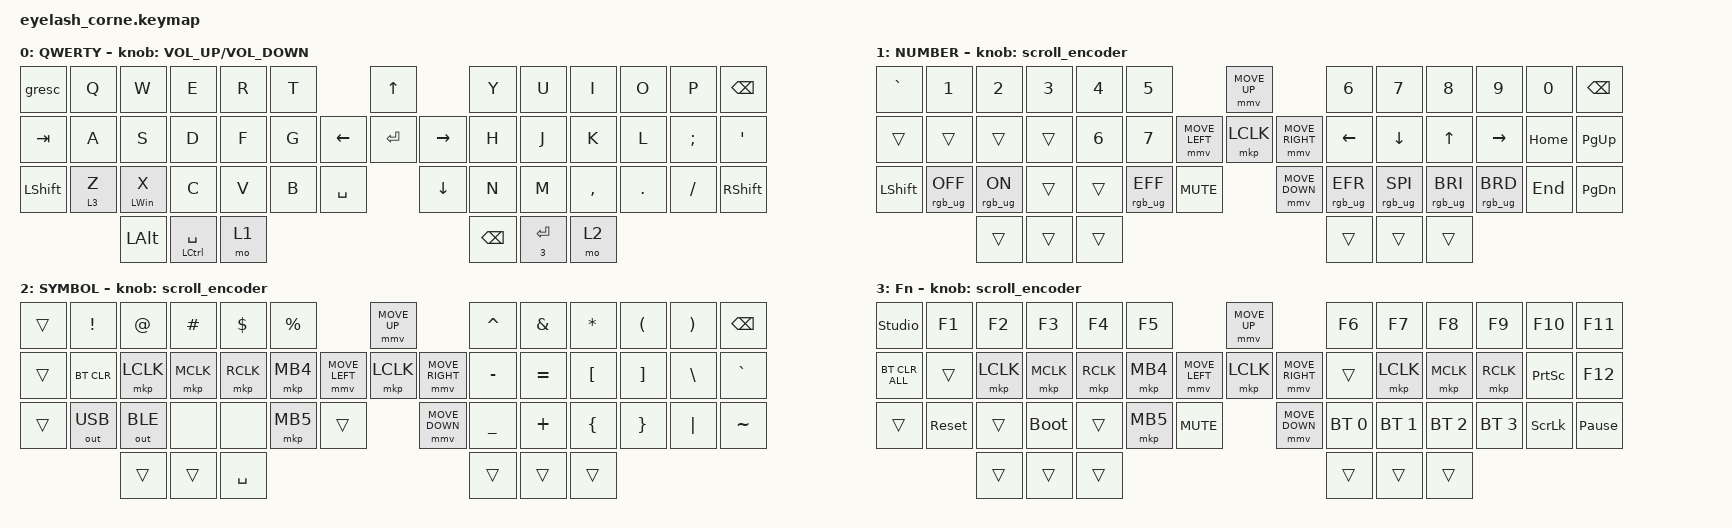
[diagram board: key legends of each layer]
#include <behaviors.dtsi>
#include <dt-bindings/zmk/bt.h>
#include <dt-bindings/zmk/keys.h>
#include <dt-bindings/zmk/mouse.h>
#include <dt-bindings/zmk/outputs.h>
#include <dt-bindings/zmk/rgb.h>

#include <input/processors.dtsi>

/*

   &mmv_input_listener {
       input-processors = <&zip_xy_scaler 2 1>;
   };

   &msc_input_listener {
       input-processors = <&zip_xy_scaler 2 1>;
   };

 */

#define ZMK_MOUSE_DEFAULT_MOVE_VAL 1200  // 600
#define ZMK_MOUSE_DEFAULT_SCRL_VAL 20    // 10

/ {
    behaviors {
        td0: td0 {
            compatible = "zmk,behavior-tap-dance";
            display-name = "Shift/Caps Lock Tap Dance";
            #binding-cells = <0>;
            bindings = <&kp LEFT_SHIFT>, <&kp CAPS>;
        };
        htm: hold-tap-mod {
            compatible = "zmk,behavior-hold-tap";
            #binding-cells = <2>;
            tapping-term-ms = <200>;
            quick-tap-ms = <0>;
            flavor = "tap-preferred";
            bindings = <&kp>, <&kp>;
        };
         skq: sticky_key_quick_release {
           compatible = "zmk,behavior-sticky-key";
           #binding-cells = <1>;
           bindings = <&kp>;
           release-after-ms = <1000>;
           quick-release;
           ignore-modifiers;
         };
         htmsk: hold-tap-mod-stick-keys {
            compatible = "zmk,behavior-hold-tap";
            #binding-cells = <2>;
            tapping-term-ms = <200>;
            quick-tap-ms = <0>;
            flavor = "tap-preferred";
            bindings = <&kp>, <&skq>;
        };
    };

    rgb_encoder: rgb_encoder {
        compatible = "zmk,behavior-sensor-rotate";
        #sensor-binding-cells = <0>;
        bindings = <&rgb_ug RGB_BRI>, <&rgb_ug RGB_BRD>;
    };

    scroll_encoder: scroll_encoder {
        compatible = "zmk,behavior-sensor-rotate";
        #sensor-binding-cells = <0>;
        bindings = <&msc SCRL_DOWN>, <&msc SCRL_UP>;
        tap-ms = <30>;
    };

    keymap {
        compatible = "zmk,keymap";

        default_layer {
            display-name = "QWERTY";
            bindings = <
&gresc     &kp Q      &kp W         &kp E     &kp R  &kp T                          &kp UP                &kp Y        &kp U  &kp I      &kp O    &kp P     &kp BSPC
&kp TAB     &kp A     &kp S         &kp D     &kp F  &kp G                &kp LEFT  &kp ENTER  &kp RIGHT  &kp H        &kp J  &kp K      &kp L    &kp SEMI  &kp SQT
&kp LSHIFT  &lt 3 Z   &htm LWIN X   &kp C     &kp V  &kp B   &kp SPACE              &kp DOWN              &kp N        &kp M  &kp COMMA  &kp DOT  &kp FSLH  &kp RSHIFT
                             &kp LALT &htm LCTRL SPACE &mo 1                                             &kp BSPC &htm 3 ENTER &mo 2
            >;
            sensor-bindings = <&inc_dec_kp C_VOLUME_UP C_VOLUME_DOWN>;
        };

        lower_layer {
            display-name = "NUMBER";
            bindings = <
&kp GRAVE   &kp N1           &kp N2          &kp N3        &kp N4        &kp N5                                        &mmv MOVE_UP                     &kp N6           &kp N7           &kp N8           &kp N9           &kp N0    &kp BSPC
&trans      &trans   &trans    &trans                         &kp N6        &kp N7                       &mmv MOVE_LEFT  &mkp LCLK       &mmv MOVE_RIGHT  &kp LEFT         &kp DOWN         &kp UP           &kp RIGHT        &kp HOME  &kp PG_UP
&kp LSHIFT  &rgb_ug RGB_OFF  &rgb_ug RGB_ON  &trans        &trans        &rgb_ug RGB_EFF &kp C_MUTE                    &mmv MOVE_DOWN                   &rgb_ug RGB_EFR  &rgb_ug RGB_SPI  &rgb_ug RGB_BRI  &rgb_ug RGB_BRD  &kp END   &kp PG_DN
                                         &trans        &trans        &trans                                                                         &trans          &trans          &trans
            >;
            sensor-bindings = <&scroll_encoder>;
        };

        raise_layer {
            display-name = "SYMBOL";
            bindings = <
&trans  &kp EXCL      &kp AT        &kp HASH   &kp DLLR   &kp PRCNT                           &mmv MOVE_UP                     &kp CARET  &kp AMPS   &kp ASTRK  &kp LPAR  &kp RPAR  &kp BSPC
&trans  &bt BT_CLR    &mkp LCLK     &mkp MCLK  &mkp RCLK  &mkp MB4            &mmv MOVE_LEFT  &mkp LCLK       &mmv MOVE_RIGHT  &kp MINUS  &kp EQUAL  &kp LBKT   &kp RBKT  &kp BSLH  &kp GRAVE
&trans  &out OUT_USB  &out OUT_BLE  &none      &none      &mkp MB5  &trans                    &mmv MOVE_DOWN                   &kp UNDER  &kp PLUS   &kp LBRC   &kp RBRC  &kp PIPE  &kp TILDE
                                    &trans     &trans     &kp SPACE                                                            &trans    &trans     &trans
            >;
            sensor-bindings = <&scroll_encoder>;
        };

        layer_3 {
            display-name = "Fn";
            bindings = <
&studio_unlock   &kp F1           &kp F2      &kp F3       &kp F4     &kp F5                                  &mmv MOVE_UP                     &kp F6          &kp F7     &kp F8       &kp F9      &kp F10          &kp F11
&bt BT_CLR_ALL   &trans           &mkp LCLK   &mkp MCLK    &mkp RCLK  &mkp MB4                &mmv MOVE_LEFT  &mkp LCLK       &mmv MOVE_RIGHT  &trans          &mkp LCLK  &mkp MCLK    &mkp RCLK   &kp PRINTSCREEN  &kp F12
&trans           &sys_reset       &trans      &bootloader  &trans     &mkp MB5  &kp C_MUTE                    &mmv MOVE_DOWN                   &bt BT_SEL 0    &bt BT_SEL 1    &bt BT_SEL 2  &bt BT_SEL 3  &kp SCROLLLOCK   &kp PAUSE_BREAK
                                  &trans      &trans      &trans                                                                   &trans       &trans     &trans
            >;
            sensor-bindings = <&scroll_encoder>;
        };
    };
};
